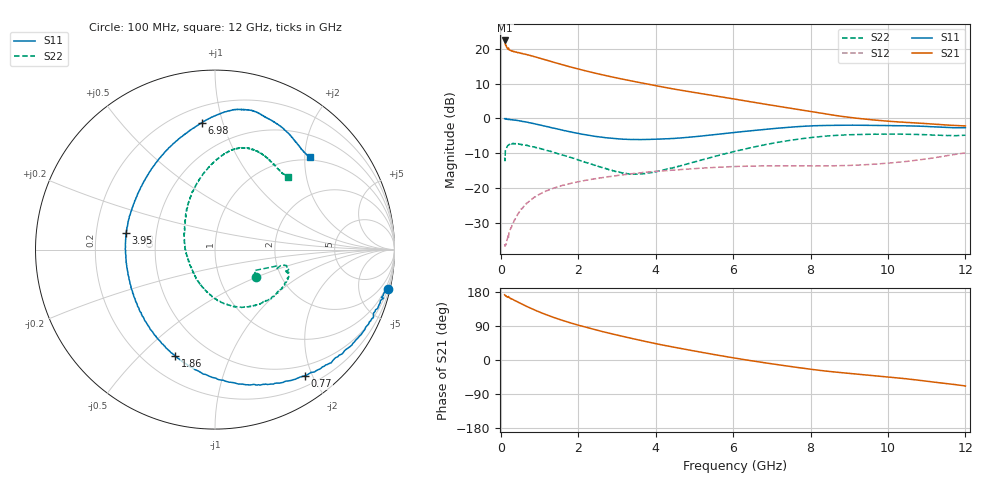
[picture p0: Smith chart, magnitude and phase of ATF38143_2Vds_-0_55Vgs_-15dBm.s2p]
!Agilent Technologies,N5227A,US51270349,A.09.80.20
!Agilent N5227A: A.09.80.20
!Date: Saturday, September 07, 2024 05:07:42
!Correction: S11(Full 2 Port(1,2))
!S21(Full 2 Port(1,2))
!S12(Full 2 Port(1,2))
!S22(Full 2 Port(1,2))
!S2P File: Measurements: S11, S21, S12, S22:
# Hz S  RI  R 50
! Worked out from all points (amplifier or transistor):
!   1191 points, 100 MHz to 12 GHz, reference 50 ohm
!   highest |S21| = 22.3 dB at 110 MHz (marker M1)
!   |S21| within 3 dB of that: start of sweep to 276.3 MHz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
!   unconditionally stable (mu >= 1): 4.468669 GHz to 4.486383 GHz; 4.494 GHz to end of sweep
!   at 2.08 GHz: K = 0.65, MSG = 16.0 dB, |S12| = -18.0 dB
!   at 6.05 GHz: K = 1.04, MAG = 8.4 dB, |S12| = -13.8 dB
!   at 12 GHz: K = 1.11, MAG = 1.8 dB, |S12| = -9.9 dB
!   S11 on the Smith chart (normalised r, x): 100 MHz: 0.44, -8.95; 770 MHz: 0.34, -1.89; 1.86 GHz: 0.33, -0.64; 3.95 GHz: 0.33, +0.08; 6.98 GHz: 0.30, +0.85; 12 GHz: 0.93, +2.11
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1e8  0.9651 -0.2178  -12.78 1.775  0.00306 0.0156  0.2291 -0.1546
1.1e8  0.9577 -0.2146  -12.91 2.182  0.00293 0.0145  0.2195 -0.1167
1.7e8  0.9387 -0.2477  -9.836 2.404  0.00371 0.0186  0.3864 -0.0867
2.3e8  0.915 -0.3058  -9.142 2.655  0.00487 0.0237  0.4091 -0.1161
5.3e8  0.7152 -0.5731  -7.306 4.478  0.0184 0.0476  0.3473 -0.2364
7.7e8  0.5013 -0.7047  -5.813 5.461  0.0319 0.0598  0.2696 -0.2937
9.8e8  0.3194 -0.7489  -4.491 5.853  0.0444 0.0674  0.2036 -0.3168
1.22e9  0.1319 -0.7493  -3.151 5.965  0.0582 0.0731  0.1334 -0.3183
1.53e9  -0.0686 -0.692  -1.727 5.77  0.0743 0.0767  0.0556 -0.3025
1.86e9  -0.223 -0.5905  -0.569 5.321  0.0902 0.0781  -0.00579 -0.2695
2.09e9  -0.3032 -0.5132  0.0558 4.962  0.0997 0.078  -0.0371 -0.2413
2.51e9  -0.4051 -0.3707  0.8994 4.271  0.1168 0.0759  -0.0861 -0.189
2.92e9  -0.4609 -0.2297  1.468 3.596  0.132 0.072  -0.1196 -0.1302
3.41e9  -0.4935 -0.0751  1.893 2.845  0.1485 0.0645  -0.1476 -0.0592
3.95e9  -0.4949 0.0941  2.136 2.091  0.1657 0.0532  -0.1692 0.0257
4.07e9  -0.4878 0.1311  2.165 1.936  0.1687 0.0503  -0.1707 0.0432
4.98e9  -0.4004 0.3711  2.155 0.9675  0.1887 0.0272  -0.1655 0.1686
6.05e9  -0.2369 0.585  1.883 0.165  0.2046 -0.00697  -0.1293 0.3131
6.98e9  -0.0746 0.7055  1.529 -0.2623  0.2057 -0.0379  -0.0572 0.4313
8.04e9  0.0953 0.7767  1.135 -0.5238  0.1986 -0.0662  0.0504 0.5335
1.002e10  0.2759 0.7409  0.647 -0.6429  0.2037 -0.1048  0.2171 0.5555
1.2e10  0.5279 0.5156  0.2834 -0.7284  0.2095 -0.2421  0.4081 0.4048
